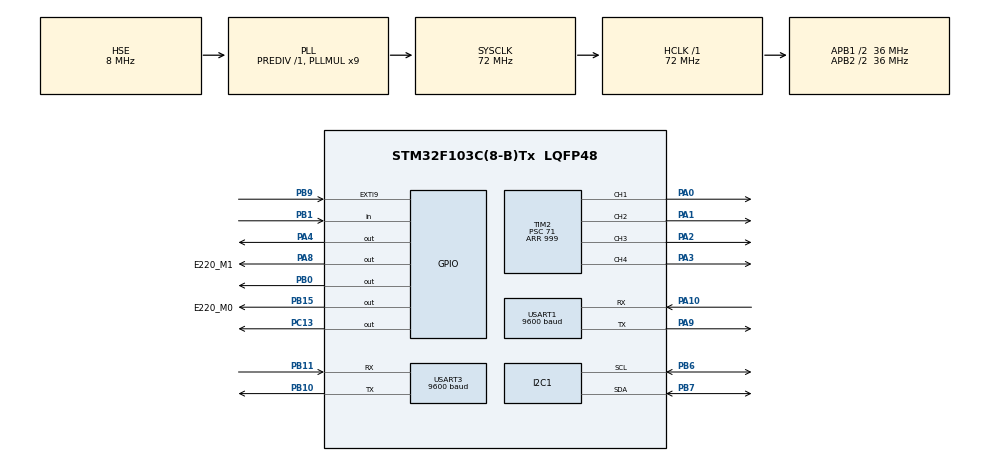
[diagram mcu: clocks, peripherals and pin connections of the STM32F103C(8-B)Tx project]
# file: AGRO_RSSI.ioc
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Mcu.Family=STM32F1
Mcu.Name=STM32F103C(8-B)Tx
Mcu.Package=LQFP48
NVIC.EXTI9_5_IRQn=true\:0\:0\:true\:false\:true\:true\:true\:true
NVIC.PriorityGroup=NVIC_PRIORITYGROUP_4
NVIC.USART1_IRQn=true\:0\:0\:true\:false\:true\:true\:true\:true
NVIC.USART3_IRQn=true\:0\:0\:false\:false\:true\:true\:true\:true
PA0-WKUP.Signal=S_TIM2_CH1_ETR
PA1.Signal=S_TIM2_CH2
PA10.GPIO_PuPd=GPIO_NOPULL
PA10.Mode=Asynchronous
PA10.Signal=USART1_RX
PA13.Mode=Serial_Wire
PA13.Signal=SYS_JTMS-SWDIO
PA14.Mode=Serial_Wire
PA14.Signal=SYS_JTCK-SWCLK
PA2.Signal=S_TIM2_CH3
PA3.Signal=S_TIM2_CH4
PA4.Signal=GPIO_Output
PA8.GPIO_Label=E220_M1
PA8.GPIO_PuPd=GPIO_PULLDOWN
PA8.Signal=GPIO_Output
PA9.Mode=Asynchronous
PA9.Signal=USART1_TX
PB0.Signal=GPIO_Output
PB1.GPIO_PuPd=GPIO_PULLUP
PB1.Signal=GPIO_Input
PB10.Mode=Asynchronous
PB10.Signal=USART3_TX
PB11.Mode=Asynchronous
PB11.Signal=USART3_RX
PB15.GPIO_Label=E220_M0
PB15.GPIO_PuPd=GPIO_PULLDOWN
PB15.Signal=GPIO_Output
PB6.Mode=I2C
PB6.Signal=I2C1_SCL
PB7.Mode=I2C
PB7.Signal=I2C1_SDA
PB9.GPIO_ModeDefaultEXTI=GPIO_MODE_IT_FALLING
PB9.GPIO_PuPd=GPIO_PULLUP
PB9.Signal=GPXTI9
PC13-TAMPER-RTC.Signal=GPIO_Output
PD0-OSC_IN.Mode=HSE-External-Oscillator
PD0-OSC_IN.Signal=RCC_OSC_IN
PD1-OSC_OUT.Mode=HSE-External-Oscillator
PD1-OSC_OUT.Signal=RCC_OSC_OUT
ProjectManager.HeapSize=0x200
ProjectManager.StackSize=0x400
ProjectManager.TargetToolchain=STM32CubeIDE
RCC.AHBFreq_Value=72000000
RCC.APB1CLKDivider=RCC_HCLK_DIV2
RCC.APB1Freq_Value=36000000
RCC.APB1TimFreq_Value=72000000
RCC.APB2CLKDivider=RCC_HCLK_DIV2
RCC.APB2Freq_Value=36000000
RCC.APB2TimFreq_Value=72000000
RCC.HCLKFreq_Value=72000000
RCC.PLLMUL=RCC_PLL_MUL9
RCC.PLLSourceVirtual=RCC_PLLSOURCE_HSE
RCC.SYSCLKFreq_VALUE=72000000
RCC.SYSCLKSource=RCC_SYSCLKSOURCE_PLLCLK
RCC.USBFreq_Value=72000000
SH.S_TIM2_CH1_ETR.0=TIM2_CH1,PWM Generation1 CH1
SH.S_TIM2_CH2.0=TIM2_CH2,PWM Generation2 CH2
SH.S_TIM2_CH3.0=TIM2_CH3,PWM Generation3 CH3
SH.S_TIM2_CH4.0=TIM2_CH4,PWM Generation4 CH4
TIM2.Channel-PWM\ Generation1\ CH1=TIM_CHANNEL_1
TIM2.Channel-PWM\ Generation2\ CH2=TIM_CHANNEL_2
TIM2.Channel-PWM\ Generation3\ CH3=TIM_CHANNEL_3
TIM2.Channel-PWM\ Generation4\ CH4=TIM_CHANNEL_4
TIM2.Period=999
TIM2.Prescaler=71
USART1.BaudRate=9600
USART1.StopBits=STOPBITS_1
USART1.VirtualMode=VM_ASYNC
USART3.BaudRate=9600
USART3.VirtualMode=VM_ASYNC
VP_TIM2_VS_ClockSourceINT.Mode=Internal
board=custom

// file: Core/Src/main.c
/* USER CODE BEGIN Header */
/**
  ******************************************************************************
  * @file           : main.c
  * @brief          : Main program body (variant 2 - full code)
  ******************************************************************************
  */
/* USER CODE END Header */
#include "main.h"

/* USER CODE BEGIN Includes */
#include <string.h>
#include <stdio.h>
#include "E220.h"
#include "ssd1306.h"
#include "fonts.h"
#include "RadioCommunication.h"
/* USER CODE END Includes */

/* USER CODE BEGIN PTD */
typedef enum {
    PACKET_STATE_IDLE,
    PACKET_STATE_WAIT_START2,
    PACKET_STATE_WAIT_LENGTH,
    PACKET_STATE_WAIT_PAYLOAD,
    PACKET_STATE_WAIT_STOP1,
    PACKET_STATE_WAIT_STOP2
} PacketState_t;
/* USER CODE END PTD */

/* USER CODE BEGIN PD */
#define SSD1306_DISPLAY true
#define START_BYTE      0x01
#define STOP_BYTE       0xBB
#define MAX_PACKET_SIZE 256
/* USER CODE END PD */

I2C_HandleTypeDef hi2c1;

TIM_HandleTypeDef htim2;

UART_HandleTypeDef huart1;
UART_HandleTypeDef huart3;

/* USER CODE BEGIN PV */
PacketState_t packetState = PACKET_STATE_IDLE;
uint16_t     rxIndex     = 0;
uint8_t      packetLength= 0;
uint8_t      rx_byte;
uint8_t      recvBuffer[MAX_PACKET_SIZE];
_Bool        PacketReceived_Flag = false;
_Bool        AUX_Flag            = false;
AGRO_HandleTypeDef AGRO_Device;
char         buf[30];
uint16_t speed = 0;
/* USER CODE END PV */

void SystemClock_Config(void);
static void MX_GPIO_Init(void);
static void MX_USART1_UART_Init(void);
static void MX_USART3_UART_Init(void);
static void MX_I2C1_Init(void);
static void MX_TIM2_Init(void);
/* USER CODE BEGIN PFP */
static void Hardware_Init(void);
static void Device_Init(void);
static void Display_Init(void);
static void UpdateOledDisplay(char *title, uint8_t data, uint8_t x, uint8_t y, uint8_t status);
static void SendResponse(uint8_t status_code, uint8_t received_address);
void SetMotorData(void);
/* USER CODE END PFP */

/* USER CODE BEGIN 0 */
struct MotorData
{
	uint8_t address;
	uint8_t direction;
	uint8_t speed;
};

struct MotorData motordata;
/* USER CODE END 0 */

int main(void)
{

  /* MCU Configuration--------------------------------------------------------*/

  /* Reset of all peripherals, Initializes the Flash interface and the Systick. */
  HAL_Init();

  /* Configure the system clock */
  SystemClock_Config();

  /* Initialize all configured peripherals */
  MX_GPIO_Init();
  MX_USART1_UART_Init();
  MX_USART3_UART_Init();
  MX_I2C1_Init();
  MX_TIM2_Init();
  /* USER CODE BEGIN 2 */
  HAL_Init();
  SystemClock_Config();
  Hardware_Init();
  Device_Init();
  Display_Init();

  /* Start UART1 receive interrupt */
  HAL_UART_Receive_IT(&huart1, &rx_byte, 1);

  /* USER CODE END 2 */

  /* Infinite loop */
  while (1)
  {

    /* USER CODE BEGIN 3 */
	if (PacketReceived_Flag)
	 {
		 uint8_t payload_start = 3;
		 uint8_t status_code   = 0x00;
		 uint8_t received_addr = 0xFF;

		 if (packetLength >= 3)
		 {
			 received_addr = recvBuffer[payload_start];
			 if (packetLength == 0x05)
			 {
				 uint8_t deviceType = recvBuffer[payload_start+1];
				 uint8_t mode       = recvBuffer[payload_start+2];
				 if (received_addr != 0x01 && received_addr != 0x02)
					 status_code = 0x01;  // Address error
				 else if (mode != 0x03 && mode != 0x04)
					 status_code = 0x02;  // Mode error
			 }
			 else if (packetLength != 0x04 && packetLength != 0x06)
			 {
				 status_code = 0x03;     // Length error
			 }
		 }
		 else
		 {
			 status_code = 0x04;         // Too short
		 }

		 UpdateOledDisplay("Addr:", received_addr, 0, 0, status_code);
		 SendResponse(status_code, received_addr);
		 PacketReceived_Flag = false;
	 }

	 if (AUX_Flag)
	 {
		 AUX_Flag = false;
		 /* Handle AUX pin event if needed */
	 }
  }
  /* USER CODE END 3 */
}

void SystemClock_Config(void)
{
  RCC_OscInitTypeDef RCC_OscInitStruct = {0};
  RCC_ClkInitTypeDef RCC_ClkInitStruct = {0};

  /** Initializes the RCC Oscillators according to the specified parameters
  * in the RCC_OscInitTypeDef structure.
  */
  RCC_OscInitStruct.OscillatorType = RCC_OSCILLATORTYPE_HSE;
  RCC_OscInitStruct.HSEState = RCC_HSE_ON;
  RCC_OscInitStruct.HSEPredivValue = RCC_HSE_PREDIV_DIV1;
  RCC_OscInitStruct.HSIState = RCC_HSI_ON;
  RCC_OscInitStruct.PLL.PLLState = RCC_PLL_ON;
  RCC_OscInitStruct.PLL.PLLSource = RCC_PLLSOURCE_HSE;
  RCC_OscInitStruct.PLL.PLLMUL = RCC_PLL_MUL9;
  if (HAL_RCC_OscConfig(&RCC_OscInitStruct) != HAL_OK)
  {
    Error_Handler();
  }

  /** Initializes the CPU, AHB and APB buses clocks
  */
  RCC_ClkInitStruct.ClockType = RCC_CLOCKTYPE_HCLK|RCC_CLOCKTYPE_SYSCLK
                              |RCC_CLOCKTYPE_PCLK1|RCC_CLOCKTYPE_PCLK2;
  RCC_ClkInitStruct.SYSCLKSource = RCC_SYSCLKSOURCE_PLLCLK;
  RCC_ClkInitStruct.AHBCLKDivider = RCC_SYSCLK_DIV1;
  RCC_ClkInitStruct.APB1CLKDivider = RCC_HCLK_DIV2;
  RCC_ClkInitStruct.APB2CLKDivider = RCC_HCLK_DIV2;

  if (HAL_RCC_ClockConfig(&RCC_ClkInitStruct, FLASH_LATENCY_2) != HAL_OK)
  {
    Error_Handler();
  }
}

static void MX_I2C1_Init(void)
{

  hi2c1.Instance = I2C1;
  hi2c1.Init.ClockSpeed = 100000;
  hi2c1.Init.DutyCycle = I2C_DUTYCYCLE_2;
  hi2c1.Init.OwnAddress1 = 0;
  hi2c1.Init.AddressingMode = I2C_ADDRESSINGMODE_7BIT;
  hi2c1.Init.DualAddressMode = I2C_DUALADDRESS_DISABLE;
  hi2c1.Init.OwnAddress2 = 0;
  hi2c1.Init.GeneralCallMode = I2C_GENERALCALL_DISABLE;
  hi2c1.Init.NoStretchMode = I2C_NOSTRETCH_DISABLE;
  if (HAL_I2C_Init(&hi2c1) != HAL_OK)
  {
    Error_Handler();
  }

}

static void MX_TIM2_Init(void)
{

  TIM_ClockConfigTypeDef sClockSourceConfig = {0};
  TIM_MasterConfigTypeDef sMasterConfig = {0};
  TIM_OC_InitTypeDef sConfigOC = {0};

  htim2.Instance = TIM2;
  htim2.Init.Prescaler = 71;
  htim2.Init.CounterMode = TIM_COUNTERMODE_UP;
  htim2.Init.Period = 999;
  htim2.Init.ClockDivision = TIM_CLOCKDIVISION_DIV1;
  htim2.Init.AutoReloadPreload = TIM_AUTORELOAD_PRELOAD_DISABLE;
  if (HAL_TIM_Base_Init(&htim2) != HAL_OK)
  {
    Error_Handler();
  }
  sClockSourceConfig.ClockSource = TIM_CLOCKSOURCE_INTERNAL;
  if (HAL_TIM_ConfigClockSource(&htim2, &sClockSourceConfig) != HAL_OK)
  {
    Error_Handler();
  }
  if (HAL_TIM_PWM_Init(&htim2) != HAL_OK)
  {
    Error_Handler();
  }
  sMasterConfig.MasterOutputTrigger = TIM_TRGO_RESET;
  sMasterConfig.MasterSlaveMode = TIM_MASTERSLAVEMODE_DISABLE;
  if (HAL_TIMEx_MasterConfigSynchronization(&htim2, &sMasterConfig) != HAL_OK)
  {
    Error_Handler();
  }
  sConfigOC.OCMode = TIM_OCMODE_PWM1;
  sConfigOC.Pulse = 0;
  sConfigOC.OCPolarity = TIM_OCPOLARITY_HIGH;
  sConfigOC.OCFastMode = TIM_OCFAST_DISABLE;
  if (HAL_TIM_PWM_ConfigChannel(&htim2, &sConfigOC, TIM_CHANNEL_1) != HAL_OK)
  {
    Error_Handler();
  }
  if (HAL_TIM_PWM_ConfigChannel(&htim2, &sConfigOC, TIM_CHANNEL_2) != HAL_OK)
  {
    Error_Handler();
  }
  if (HAL_TIM_PWM_ConfigChannel(&htim2, &sConfigOC, TIM_CHANNEL_3) != HAL_OK)
  {
    Error_Handler();
  }
  if (HAL_TIM_PWM_ConfigChannel(&htim2, &sConfigOC, TIM_CHANNEL_4) != HAL_OK)
  {
    Error_Handler();
  }
  HAL_TIM_MspPostInit(&htim2);

}

static void MX_USART1_UART_Init(void)
{

  huart1.Instance = USART1;
  huart1.Init.BaudRate = 9600;
  huart1.Init.WordLength = UART_WORDLENGTH_8B;
  huart1.Init.StopBits = UART_STOPBITS_1;
  huart1.Init.Parity = UART_PARITY_NONE;
  huart1.Init.Mode = UART_MODE_TX_RX;
  huart1.Init.HwFlowCtl = UART_HWCONTROL_NONE;
  huart1.Init.OverSampling = UART_OVERSAMPLING_16;
  if (HAL_UART_Init(&huart1) != HAL_OK)
  {
    Error_Handler();
  }

}

static void MX_USART3_UART_Init(void)
{

  huart3.Instance = USART3;
  huart3.Init.BaudRate = 9600;
  huart3.Init.WordLength = UART_WORDLENGTH_8B;
  huart3.Init.StopBits = UART_STOPBITS_1;
  huart3.Init.Parity = UART_PARITY_NONE;
  huart3.Init.Mode = UART_MODE_TX_RX;
  huart3.Init.HwFlowCtl = UART_HWCONTROL_NONE;
  huart3.Init.OverSampling = UART_OVERSAMPLING_16;
  if (HAL_UART_Init(&huart3) != HAL_OK)
  {
    Error_Handler();
  }

}

static void MX_GPIO_Init(void)
{
  GPIO_InitTypeDef GPIO_InitStruct = {0};

  /* GPIO Ports Clock Enable */
  __HAL_RCC_GPIOC_CLK_ENABLE();
  __HAL_RCC_GPIOD_CLK_ENABLE();
  __HAL_RCC_GPIOA_CLK_ENABLE();
  __HAL_RCC_GPIOB_CLK_ENABLE();

  /*Configure GPIO pin Output Level */
  HAL_GPIO_WritePin(GPIOC, GPIO_PIN_13, GPIO_PIN_RESET);

  /*Configure GPIO pin Output Level */
  HAL_GPIO_WritePin(GPIOA, GPIO_PIN_4|E220_M1_Pin, GPIO_PIN_RESET);

  /*Configure GPIO pin Output Level */
  HAL_GPIO_WritePin(GPIOB, GPIO_PIN_0|E220_M0_Pin, GPIO_PIN_RESET);

  /*Configure GPIO pin : PC13 */
  GPIO_InitStruct.Pin = GPIO_PIN_13;
  GPIO_InitStruct.Mode = GPIO_MODE_OUTPUT_PP;
  GPIO_InitStruct.Pull = GPIO_NOPULL;
  GPIO_InitStruct.Speed = GPIO_SPEED_FREQ_LOW;
  HAL_GPIO_Init(GPIOC, &GPIO_InitStruct);

  /*Configure GPIO pin : PA4 */
  GPIO_InitStruct.Pin = GPIO_PIN_4;
  GPIO_InitStruct.Mode = GPIO_MODE_OUTPUT_PP;
  GPIO_InitStruct.Pull = GPIO_NOPULL;
  GPIO_InitStruct.Speed = GPIO_SPEED_FREQ_LOW;
  HAL_GPIO_Init(GPIOA, &GPIO_InitStruct);

  /*Configure GPIO pin : PB0 */
  GPIO_InitStruct.Pin = GPIO_PIN_0;
  GPIO_InitStruct.Mode = GPIO_MODE_OUTPUT_PP;
  GPIO_InitStruct.Pull = GPIO_NOPULL;
  GPIO_InitStruct.Speed = GPIO_SPEED_FREQ_LOW;
  HAL_GPIO_Init(GPIOB, &GPIO_InitStruct);

  /*Configure GPIO pin : PB1 */
  GPIO_InitStruct.Pin = GPIO_PIN_1;
  GPIO_InitStruct.Mode = GPIO_MODE_INPUT;
  GPIO_InitStruct.Pull = GPIO_PULLUP;
  HAL_GPIO_Init(GPIOB, &GPIO_InitStruct);

  /*Configure GPIO pin : E220_M0_Pin */
  GPIO_InitStruct.Pin = E220_M0_Pin;
  GPIO_InitStruct.Mode = GPIO_MODE_OUTPUT_PP;
  GPIO_InitStruct.Pull = GPIO_PULLDOWN;
  GPIO_InitStruct.Speed = GPIO_SPEED_FREQ_LOW;
  HAL_GPIO_Init(E220_M0_GPIO_Port, &GPIO_InitStruct);

  /*Configure GPIO pin : E220_M1_Pin */
  GPIO_InitStruct.Pin = E220_M1_Pin;
  GPIO_InitStruct.Mode = GPIO_MODE_OUTPUT_PP;
  GPIO_InitStruct.Pull = GPIO_PULLDOWN;
  GPIO_InitStruct.Speed = GPIO_SPEED_FREQ_LOW;
  HAL_GPIO_Init(E220_M1_GPIO_Port, &GPIO_InitStruct);

  /*Configure GPIO pin : PB9 */
  GPIO_InitStruct.Pin = GPIO_PIN_9;
  GPIO_InitStruct.Mode = GPIO_MODE_IT_FALLING;
  GPIO_InitStruct.Pull = GPIO_PULLUP;
  HAL_GPIO_Init(GPIOB, &GPIO_InitStruct);

  /* EXTI interrupt init*/
  HAL_NVIC_SetPriority(EXTI9_5_IRQn, 0, 0);
  HAL_NVIC_EnableIRQ(EXTI9_5_IRQn);

  /* USER CODE BEGIN MX_GPIO_Init_2 */
  HAL_NVIC_SetPriority(EXTI9_5_IRQn,0,0);
  HAL_NVIC_EnableIRQ(EXTI9_5_IRQn);
  /* USER CODE END MX_GPIO_Init_2 */
}

/* USER CODE BEGIN 4 */
static void Hardware_Init(void)
{
    MX_GPIO_Init();
    MX_USART1_UART_Init();
    MX_USART3_UART_Init();
    MX_I2C1_Init();
}

/**
  * @brief  Device-specific init (E220, AGRO)
  */
static void Device_Init(void)
{
    LED_OFF;
    E220_SetMode(DeepSleep);
    E220_WaitReady();
    LED_ON; HAL_Delay(500); LED_OFF;
    LED_ON; HAL_Delay(500); LED_OFF;
    LED_ON; HAL_Delay(500); LED_OFF;
    LED_ON; HAL_Delay(500); LED_OFF;

    AGRO_Init(AGRO_Device, Device_0);
    AGRO_Device.AddrDevice_1 = 0x0001;
    AGRO_Device.ChDevice_1   = 0x02;
    AGRO_Device.AddrDevice_0 = 0x0003;
    AGRO_Device.ChDevice_0   = 0x04;
    E220_SetDefaultSettings(AGRO_Device.AddrDevice_0, AGRO_Device.ChDevice_0, DISABLE);

    HAL_Delay(500); LED_ON; HAL_Delay(500); LED_OFF;
    E220_SetMode(NORMAL);
}

static void Display_Init(void)
{
#if SSD1306_DISPLAY
    SSD1306_Init();
    SSD1306_GotoXY(0,0);
    sprintf(buf, "AGRO ROBOT");
    SSD1306_Puts(buf, &Font_7x10, SSD1306_COLOR_WHITE);
    SSD1306_UpdateScreen();
    HAL_Delay(1000);
    SSD1306_Fill(SSD1306_COLOR_BLACK);
    SSD1306_UpdateScreen();
#endif
}

static void UpdateOledDisplay(char *title, uint8_t data, uint8_t x, uint8_t y, uint8_t status)
{
#if SSD1306_DISPLAY
    char disp[30];
    SSD1306_Fill(SSD1306_COLOR_BLACK);

    if (status == 0x00)
    {
        SSD1306_GotoXY(x,y);
        snprintf(disp, sizeof(disp), "%s %d", title, data);
        SSD1306_Puts(disp, &Font_7x10, SSD1306_COLOR_WHITE);
    }
    else
    {
        SSD1306_GotoXY(0,0);
        if (status==0x01) snprintf(disp, sizeof(disp),"Addr Error");
        else if(status==0x02) snprintf(disp,sizeof(disp),"Mode Error");
        else if(status==0x03) snprintf(disp,sizeof(disp),"Len Error");
        else snprintf(disp,sizeof(disp),"Unknown Err");
        SSD1306_Puts(disp,&Font_7x10,SSD1306_COLOR_WHITE);
        SSD1306_GotoXY(0,15);
        snprintf(disp,sizeof(disp),"Code:%02X",status);
        SSD1306_Puts(disp,&Font_7x10,SSD1306_COLOR_WHITE);
    }
    SSD1306_UpdateScreen();
#endif
}

static void SendResponse(uint8_t status_code, uint8_t received_address)
{
    uint8_t packet[8];
    packet[0]=START_BYTE; packet[1]=START_BYTE;
    packet[2]=0x03;     // payload length
    packet[3]=0x01;     // response type
    packet[4]=status_code;
    packet[5]=received_address;
    packet[6]=STOP_BYTE; packet[7]=STOP_BYTE;

//    HAL_GPIO_TogglePin(GPIOC,GPIO_PIN_13);
//    HAL_Delay(200);
//    HAL_GPIO_TogglePin(GPIOC,GPIO_PIN_13);

    SendOnChannel(AGRO_Device.AddrDevice_1, AGRO_Device.ChDevice_1, packet, sizeof(packet));
}

void HAL_UART_RxCpltCallback(UART_HandleTypeDef *huart)
{

	HAL_GPIO_TogglePin(GPIOC, GPIO_PIN_13);

    if (huart==&huart1)
    {
        switch(packetState)
        {
        case PACKET_STATE_IDLE:
            if(rx_byte==START_BYTE)
            {
                rxIndex=0; recvBuffer[rxIndex++]=rx_byte;
                packetState=PACKET_STATE_WAIT_START2;
            }
            break;

        case PACKET_STATE_WAIT_START2:
            if(rx_byte==START_BYTE)
            {
                recvBuffer[rxIndex++]=rx_byte;
                packetState=PACKET_STATE_WAIT_LENGTH;
            }
            else packetState=PACKET_STATE_IDLE;
            break;

        case PACKET_STATE_WAIT_LENGTH:
            packetLength=rx_byte;
            if(packetLength == 0x03)	HAL_GPIO_TogglePin(GPIOC, GPIO_PIN_13);
            if(packetLength>(MAX_PACKET_SIZE-5)) packetState=PACKET_STATE_IDLE;
            else { recvBuffer[rxIndex++]=rx_byte; packetState=PACKET_STATE_WAIT_PAYLOAD; }
            break;

        case PACKET_STATE_WAIT_PAYLOAD:
            recvBuffer[rxIndex++]=rx_byte;
            if(rxIndex-3==packetLength) packetState=PACKET_STATE_WAIT_STOP1;
            switch(rxIndex-3)
			{
			case 1:
					motordata.address = rx_byte;
					break;
			case 2:
					motordata.direction = rx_byte;
					break;
			case 3:
					motordata.speed = rx_byte;
					SetMotorData();
					break;
			}
            break;

        case PACKET_STATE_WAIT_STOP1:
            if(rx_byte==STOP_BYTE)
            {
                recvBuffer[rxIndex++]=rx_byte;
                packetState=PACKET_STATE_WAIT_STOP2;
            }
            else packetState=PACKET_STATE_IDLE;
            break;

        case PACKET_STATE_WAIT_STOP2:
            if(rx_byte==STOP_BYTE)
            {
                recvBuffer[rxIndex++]=rx_byte;
                PacketReceived_Flag=true;
            }
            packetState=PACKET_STATE_IDLE;
            break;

        default:
            packetState=PACKET_STATE_IDLE;
            break;
        }

        HAL_UART_Receive_IT(&huart1,&rx_byte,1);
    }
}

void HAL_UART_ErrorCallback(UART_HandleTypeDef *huart)
{
    if(huart==&huart1)
    {
        uint32_t err=HAL_UART_GetError(&huart1);
        if(err==HAL_UART_ERROR_ORE)
            HAL_UART_Receive_IT(&huart1,&rx_byte,1);
    }
}

void HAL_GPIO_EXTI_Callback(uint16_t GPIO_Pin)
{
    if(GPIO_Pin==GPIO_PIN_9)
        AUX_Flag=true;
}

void SetMotorData(void)
{
    // Barcha kanallarni to‘xtatish
    HAL_TIM_PWM_Stop(&htim2, TIM_CHANNEL_1);
    HAL_TIM_PWM_Stop(&htim2, TIM_CHANNEL_2);
    HAL_TIM_PWM_Stop(&htim2, TIM_CHANNEL_3);
    HAL_TIM_PWM_Stop(&htim2, TIM_CHANNEL_4);

    speed = (uint8_t)motordata.speed * 10; // speedni har doim fresh hisoblash!

    if (motordata.direction == 0x01) // Oldinga
    {
        HAL_TIM_PWM_Start(&htim2, TIM_CHANNEL_1); // Chap oldinga
        htim2.Instance->CCR1 = speed;
        HAL_TIM_PWM_Start(&htim2, TIM_CHANNEL_4); // O‘ng oldinga
        htim2.Instance->CCR4 = speed;
    }
    else if (motordata.direction == 0x02) // Orqaga
    {
        HAL_TIM_PWM_Start(&htim2, TIM_CHANNEL_2); // Chap orqaga
        htim2.Instance->CCR2 = speed;
        HAL_TIM_PWM_Start(&htim2, TIM_CHANNEL_3); // O‘ng orqaga
        htim2.Instance->CCR3 = speed;
    }
    else if (motordata.direction == 0x03) // Chapga burilish
    {
        HAL_TIM_PWM_Start(&htim2, TIM_CHANNEL_2); // Chap orqaga
        htim2.Instance->CCR2 = speed;
        HAL_TIM_PWM_Start(&htim2, TIM_CHANNEL_4); // O‘ng oldinga
        htim2.Instance->CCR4 = speed;
    }
    else if (motordata.direction == 0x04) // O‘ngga burilish
    {
        HAL_TIM_PWM_Start(&htim2, TIM_CHANNEL_1); // Chap oldinga
        htim2.Instance->CCR1 = speed;
        HAL_TIM_PWM_Start(&htim2, TIM_CHANNEL_3); // O‘ng orqaga
        htim2.Instance->CCR3 = speed;
    }
}

/* USER CODE END 4 */

void Error_Handler(void)
{
  __disable_irq();
  while (1)
  {
  }
}
